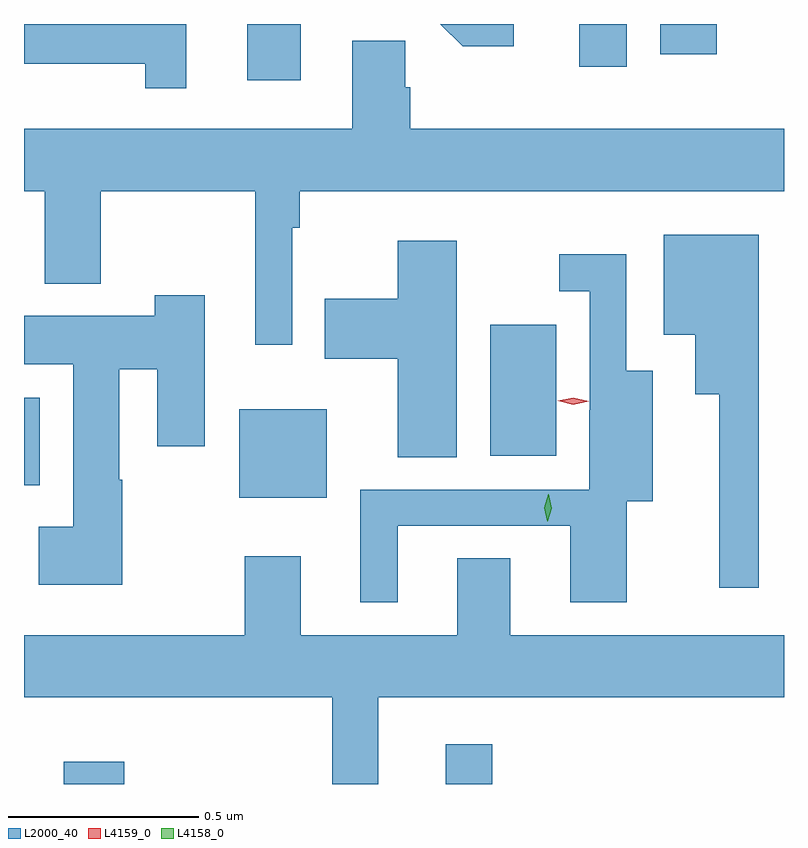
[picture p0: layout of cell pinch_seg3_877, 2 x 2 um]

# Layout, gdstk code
import gdstk
lib = gdstk.Library(unit=1e-6, precision=1e-09)
def R(c, l, rs):  # rectangles x0, y0, x1, y1
    for r in rs: c.add(gdstk.rectangle(r[:2], r[2:], *l))
def P(c, l, *ps):  # polygons
    for p in ps: c.add(gdstk.Polygon(p, *l))
L2000_40 = (2000, 40)
L4158_0 = (4158, 0)
L4159_0 = (4159, 0)

pinch_seg3_877 = lib.new_cell('pinch_seg3_877')
R(pinch_seg3_877, L2000_40, [(707.684,672.716,707.843,672.775), (708.689,672.716,708.811,672.82), (708.146,673.469,708.376,673.702), (707.579,673.502,707.62,673.732), (708.806,673.58,708.979,673.924), (708.167,674.568,708.307,674.716), (709.04,674.604,709.165,674.716), (709.253,674.637,709.402,674.716)])
P(pinch_seg3_877, L2000_40, [(708.006,674.716),(707.579,674.716),(707.579,674.612),(707.898,674.612),(707.898,674.547),(708.006,674.547)],
  [(708.868,674.716),(708.674,674.716),(708.733,674.658),(708.868,674.658)],
  [(708.285,674.18),(708.305,674.18),(708.305,674.276),(709.579,674.276),(709.579,674.44),(708.596,674.44),(708.596,674.55),(708.582,674.55),(708.582,674.672),(708.443,674.672),(708.443,674.44),(707.579,674.44),(707.579,674.276),(707.633,674.276),(707.633,674.033),(707.781,674.033),(707.781,674.276),(708.188,674.276),(708.188,673.872),(708.285,673.872)],
  [(709.513,674.161),(709.262,674.161),(709.262,673.898),(709.346,673.898),(709.346,673.742),(709.409,673.742),(709.409,673.233),(709.513,673.233)],
  [(708.718,674.146),(708.563,674.146),(708.563,673.993),(708.37,673.993),(708.37,673.835),(708.563,673.835),(708.563,673.576),(708.718,673.576)],
  [(708.562,673.395),(709.016,673.395),(709.016,673.194),(709.165,673.194),(709.165,673.46),(709.234,673.46),(709.234,673.804),(709.164,673.804),(709.164,674.11),(708.987,674.11),(708.987,674.013),(709.068,674.013),(709.068,673.7),(709.067,673.7),(709.067,673.491),(708.464,673.491),(708.464,673.194),(708.562,673.194)],
  [(707.838,673.517),(707.83,673.517),(707.83,673.808),(707.93,673.808),(707.93,673.605),(708.055,673.605),(708.055,674.002),(707.923,674.002),(707.923,673.948),(707.579,673.948),(707.579,673.82),(707.708,673.82),(707.708,673.393),(707.618,673.393),(707.618,673.241),(707.838,673.241)],
  [(708.511,672.944),(709.579,672.944),(709.579,673.108),(708.859,673.108),(708.859,673.31),(708.719,673.31),(708.719,673.108),(708.307,673.108),(708.307,673.315),(708.16,673.315),(708.16,673.108),(707.579,673.108),(707.579,672.944),(708.39,672.944),(708.39,672.716),(708.511,672.716)])
P(pinch_seg3_877, L4158_0, [(708.956,673.407),(708.948,673.443),(708.959,673.478),(708.959,673.478),(708.96,673.478),(708.968,673.442),(708.957,673.407),(708.957,673.407)])
P(pinch_seg3_877, L4159_0, [(709.024,673.714),(708.983,673.724),(708.982,673.724),(708.983,673.724),(709.024,673.733),(709.065,673.723),(709.065,673.723),(709.065,673.723)])

lib.write_gds('pinch_seg3_877.gds')
